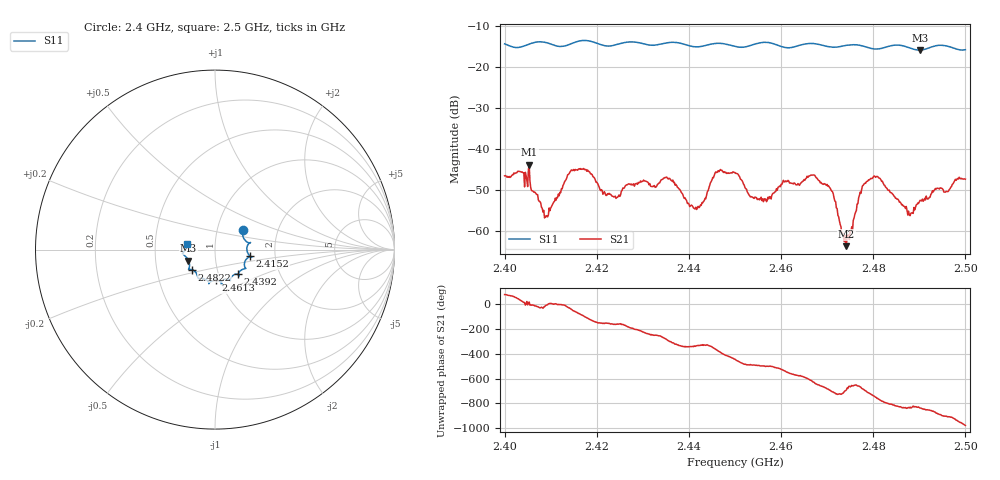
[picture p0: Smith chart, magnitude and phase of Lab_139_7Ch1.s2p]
# Hz S RI R 50
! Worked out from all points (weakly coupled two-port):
!   601 points, 2.4 GHz to 2.5 GHz, reference 50 ohm
!   highest |S21| = -43.89 dB at 2.4053 GHz (marker M1); lowest = -63.8 dB at 2.4742 GHz (marker M2)
!   lowest |S11| = -15.9 dB at 2.4902 GHz (marker M3), VSWR 1.38, Z = 36.9 - j4.6 ohm
!   |S11| at or under -10 dB: start of sweep to end of sweep
!   S12 and S22 are empty: the file has one direction only
!   S11 on the Smith chart (normalised r, x): 2.4 GHz: 1.33, +0.30; 2.4152 GHz: 1.48, -0.11; 2.4392 GHz: 1.23, -0.35; 2.4613 GHz: 0.96, -0.34; 2.4822 GHz: 0.76, -0.17; 2.5 GHz: 0.73, +0.05
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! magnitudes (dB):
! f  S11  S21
! 2.4 GHz  -14.4  -46.6
! 2.4053 GHz  -14.5  -43.9
! 2.409 GHz  -14.1  -56.6
! 2.4152 GHz  -14.1  -45.4
! 2.4167 GHz  -13.6  -45.0
! 2.424 GHz  -14.7  -51.6
! 2.4333 GHz  -14.6  -48.6
! 2.4392 GHz  -14.6  -52.0
! 2.4418 GHz  -15.1  -54.4
! 2.446 GHz  -14.3  -45.8
! 2.45 GHz  -15.0  -45.8
! 2.4563 GHz  -14.0  -52.2
! 2.4613 GHz  -15.3  -48.0
! 2.4667 GHz  -14.3  -46.5
! 2.4708 GHz  -15.2  -50.1
! 2.4742 GHz  -14.8  -63.8
! 2.478 GHz  -15.0  -48.6
! 2.4822 GHz  -15.4  -48.4
! 2.4833 GHz  -15.0  -50.2
! 2.488 GHz  -15.4  -56.4
! 2.4902 GHz  -15.9  -52.6
! 2.5 GHz  -15.8  -47.4
